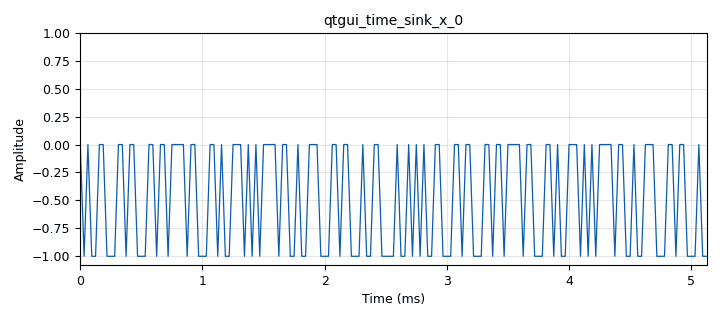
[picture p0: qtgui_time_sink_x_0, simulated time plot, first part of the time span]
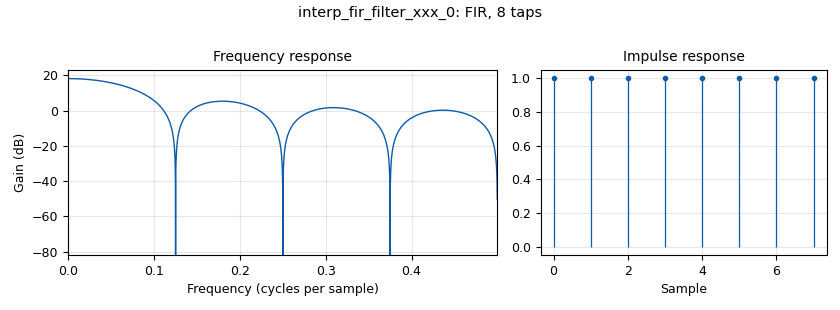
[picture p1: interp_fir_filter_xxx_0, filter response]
<?xml version='1.0' encoding='utf-8'?>
<?grc format='1' created='3.7.13'?>
<flow_graph>
<block>
<key>options</key>
<param><key>id</key><value>top_block</value></param>
<param><key>generate_options</key><value>qt_gui</value></param>
</block>
<block>
<key>variable</key>
<param><key>id</key><value>msg_bytes</value></param>
<param><key>value</key><value>list([ord(x) for x in 'Hello,World'])</value></param>
</block>
<block>
<key>variable</key>
<param><key>id</key><value>samp_rate</value></param>
<param><key>value</key><value>32000</value></param>
</block>
<block>
<key>analog_noise_source_x</key>
<param><key>id</key><value>analog_noise_source_x_0</value></param>
<param><key>amp</key><value>0.5</value></param>
<param><key>noise_type</key><value>analog.GR_GAUSSIAN</value></param>
<param><key>type</key><value>float</value></param>
<param><key>seed</key><value>0</value></param>
</block>
<block>
<key>blocks_add_const_vxx</key>
<param><key>id</key><value>blocks_add_const_vxx_0</value></param>
<param><key>const</key><value>-1</value></param>
<param><key>type</key><value>float</value></param>
</block>
<block>
<key>blocks_add_xx</key>
<param><key>id</key><value>blocks_add_xx_0</value></param>
<param><key>type</key><value>float</value></param>
</block>
<block>
<key>blocks_char_to_float</key>
<param><key>id</key><value>blocks_char_to_float_0</value></param>
<param><key>scale</key><value>1</value></param>
</block>
<block>
<key>blocks_file_sink</key>
<param><key>id</key><value>blocks_file_sink_0</value></param>
<param><key>file</key><value>C:\Users\Kaustubh\OneDrive\Documents\DCOM\output.txt</value></param>
<param><key>type</key><value>float</value></param>
<param><key>unbuffered</key><value>True</value></param>
</block>
<block>
<key>blocks_packed_to_unpacked_xx</key>
<param><key>id</key><value>blocks_packed_to_unpacked_xx_0</value></param>
<param><key>bits_per_chunk</key><value>1</value></param>
<param><key>endianness</key><value>gr.GR_LSB_FIRST</value></param>
<param><key>type</key><value>byte</value></param>
</block>
<block>
<key>blocks_throttle</key>
<param><key>id</key><value>blocks_throttle_0</value></param>
<param><key>samples_per_second</key><value>samp_rate</value></param>
<param><key>type</key><value>byte</value></param>
</block>
<block>
<key>blocks_vector_source_x</key>
<param><key>id</key><value>blocks_vector_source_x_0</value></param>
<param><key>type</key><value>byte</value></param>
<param><key>repeat</key><value>True</value></param>
<param><key>vector</key><value>msg_bytes</value></param>
</block>
<block>
<key>eyeplot</key>
<param><key>id</key><value>eyeplot_0</value></param>
<param><key>td</key><value>40</value></param>
</block>
<block>
<key>eyeplot</key>
<param><key>id</key><value>eyeplot_1</value></param>
<param><key>td</key><value>40</value></param>
</block>
<block>
<key>interp_fir_filter_xxx</key>
<param><key>id</key><value>interp_fir_filter_xxx_0</value></param>
<param><key>interp</key><value>8</value></param>
<param><key>taps</key><value>1,1,1,1,1,1,1,1</value></param>
<param><key>type</key><value>fff</value></param>
</block>
<block>
<key>qtgui_time_sink_x</key>
<param><key>id</key><value>qtgui_time_sink_x_0</value></param>
<param><key>color1</key><value>"blue"</value></param>
<param><key>label1</key><value></value></param>
<param><key>size</key><value>1024</value></param>
<param><key>srate</key><value>samp_rate</value></param>
<param><key>type</key><value>float</value></param>
</block>
<block>
<key>root_raised_cosine_filter</key>
<param><key>id</key><value>root_raised_cosine_filter_0</value></param>
<param><key>alpha</key><value>0.35</value></param>
<param><key>type</key><value>interp_fir_filter_fff</value></param>
<param><key>gain</key><value>1</value></param>
<param><key>interp</key><value>1</value></param>
<param><key>ntaps</key><value>11*samp_rate</value></param>
<param><key>samp_rate</key><value>samp_rate</value></param>
<param><key>sym_rate</key><value>1.0</value></param>
</block>
<connection><source_block_id>analog_noise_source_x_0</source_block_id><sink_block_id>blocks_add_xx_0</sink_block_id><source_key>0</source_key><sink_key>0</sink_key></connection>
<connection><source_block_id>blocks_add_const_vxx_0</source_block_id><sink_block_id>eyeplot_0</sink_block_id><source_key>0</source_key><sink_key>0</sink_key></connection>
<connection><source_block_id>blocks_add_const_vxx_0</source_block_id><sink_block_id>qtgui_time_sink_x_0</sink_block_id><source_key>0</source_key><sink_key>0</sink_key></connection>
<connection><source_block_id>blocks_add_const_vxx_0</source_block_id><sink_block_id>root_raised_cosine_filter_0</sink_block_id><source_key>0</source_key><sink_key>0</sink_key></connection>
<connection><source_block_id>blocks_add_xx_0</source_block_id><sink_block_id>interp_fir_filter_xxx_0</sink_block_id><source_key>0</source_key><sink_key>0</sink_key></connection>
<connection><source_block_id>blocks_char_to_float_0</source_block_id><sink_block_id>blocks_add_const_vxx_0</sink_block_id><source_key>0</source_key><sink_key>0</sink_key></connection>
<connection><source_block_id>blocks_packed_to_unpacked_xx_0</source_block_id><sink_block_id>blocks_throttle_0</sink_block_id><source_key>0</source_key><sink_key>0</sink_key></connection>
<connection><source_block_id>blocks_throttle_0</source_block_id><sink_block_id>blocks_char_to_float_0</sink_block_id><source_key>0</source_key><sink_key>0</sink_key></connection>
<connection><source_block_id>blocks_vector_source_x_0</source_block_id><sink_block_id>blocks_packed_to_unpacked_xx_0</sink_block_id><source_key>0</source_key><sink_key>0</sink_key></connection>
<connection><source_block_id>interp_fir_filter_xxx_0</source_block_id><sink_block_id>blocks_file_sink_0</sink_block_id><source_key>0</source_key><sink_key>0</sink_key></connection>
<connection><source_block_id>interp_fir_filter_xxx_0</source_block_id><sink_block_id>eyeplot_1</sink_block_id><source_key>0</source_key><sink_key>0</sink_key></connection>
<connection><source_block_id>root_raised_cosine_filter_0</source_block_id><sink_block_id>blocks_add_xx_0</sink_block_id><source_key>0</source_key><sink_key>1</sink_key></connection>
</flow_graph>
